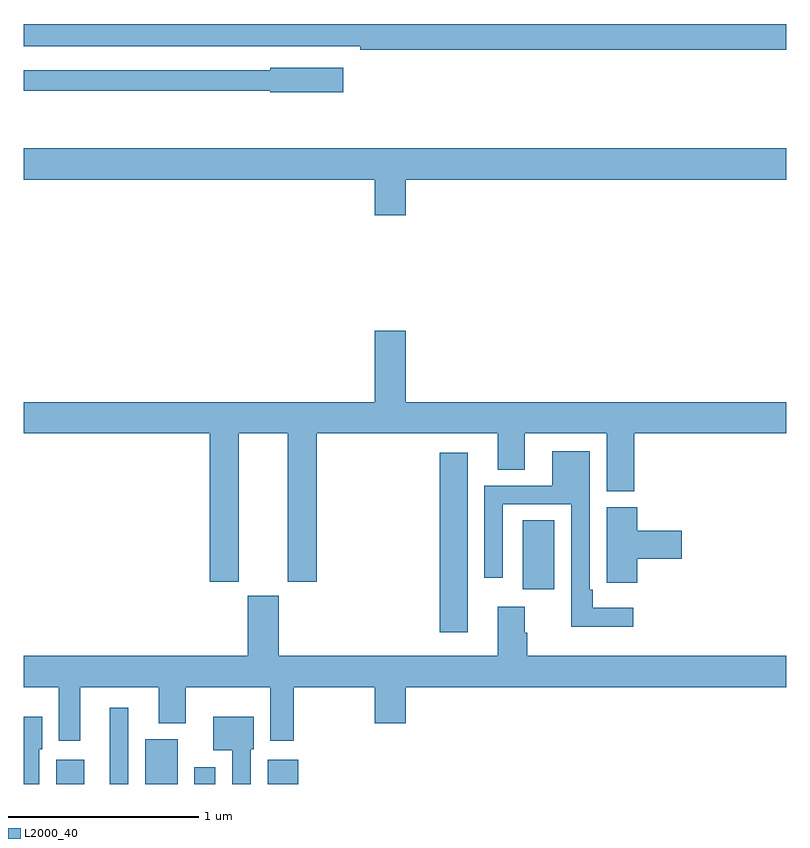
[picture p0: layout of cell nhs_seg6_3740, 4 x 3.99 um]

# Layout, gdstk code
import gdstk
lib = gdstk.Library(unit=1e-6, precision=1e-09)
def R(c, l, rs):  # rectangles x0, y0, x1, y1
    for r in rs: c.add(gdstk.rectangle(r[:2], r[2:], *l))
def P(c, l, *ps):  # polygons
    for p in ps: c.add(gdstk.Polygon(p, *l))
L2000_40 = (2000, 40)

nhs_seg6_3740 = lib.new_cell('nhs_seg6_3740')
R(nhs_seg6_3740, L2000_40, [(331.169,941.5,331.318,941.626), (331.451,941.5,331.548,941.899), (331.637,941.5,331.807,941.734), (331.895,941.5,332.005,941.587), (332.279,941.5,332.441,941.626), (333.182,942.297,333.328,943.237), (333.617,942.522,333.784,942.884)])
P(nhs_seg6_3740, L2000_40, [(335,945.488),(331,945.488),(331,945.372),(332.764,945.372),(332.764,945.352),(335,945.352)],
  [(332.677,945.259),(332.292,945.259),(332.292,945.246),(331,945.246),(331,945.138),(332.292,945.138),(332.292,945.13),(332.677,945.13)],
  [(333.004,944.672),(335,944.672),(335,944.836),(331,944.836),(331,944.672),(332.84,944.672),(332.84,944.484),(333.004,944.484)],
  [(332.128,943.34),(332.384,943.34),(332.384,942.561),(332.537,942.561),(332.537,943.34),(333.488,943.34),(333.488,943.15),(333.628,943.15),(333.628,943.34),(334.058,943.34),(334.058,943.036),(334.202,943.036),(334.202,943.34),(335,943.34),(335,943.504),(333.004,943.504),(333.004,943.879),(332.84,943.879),(332.84,943.504),(331,943.504),(331,943.34),(331.976,943.34),(331.976,942.561),(332.128,942.561)],
  [(334.198,942.424),(333.985,942.424),(333.985,942.52),(333.969,942.52),(333.969,943.246),(333.773,943.246),(333.773,943.065),(333.417,943.065),(333.417,942.582),(333.513,942.582),(333.513,942.969),(333.873,942.969),(333.873,942.326),(334.198,942.326)],
  [(334.22,942.683),(334.453,942.683),(334.453,942.83),(334.22,942.83),(334.22,942.951),(334.058,942.951),(334.058,942.667),(334.059,942.667),(334.059,942.555),(334.22,942.555)],
  [(331.297,942.008),(331.709,942.008),(331.709,941.819),(331.849,941.819),(331.849,942.008),(332.294,942.008),(332.294,941.727),(332.415,941.727),(332.415,942.008),(332.84,942.008),(332.84,941.82),(333.004,941.82),(333.004,942.008),(335,942.008),(335,942.172),(333.641,942.172),(333.641,942.293),(333.628,942.293),(333.628,942.43),(333.488,942.43),(333.488,942.172),(332.338,942.172),(332.338,942.489),(332.174,942.489),(332.174,942.172),(331,942.172),(331,942.008),(331.184,942.008),(331.184,941.727),(331.297,941.727)],
  [(332.19,941.682),(332.206,941.682),(332.206,941.854),(331.994,941.854),(331.994,941.678),(332.094,941.678),(332.094,941.5),(332.19,941.5)],
  [(331.08,941.682),(331.096,941.682),(331.096,941.854),(331,941.854),(331,941.5),(331.08,941.5)])

lib.write_gds('nhs_seg6_3740.gds')
